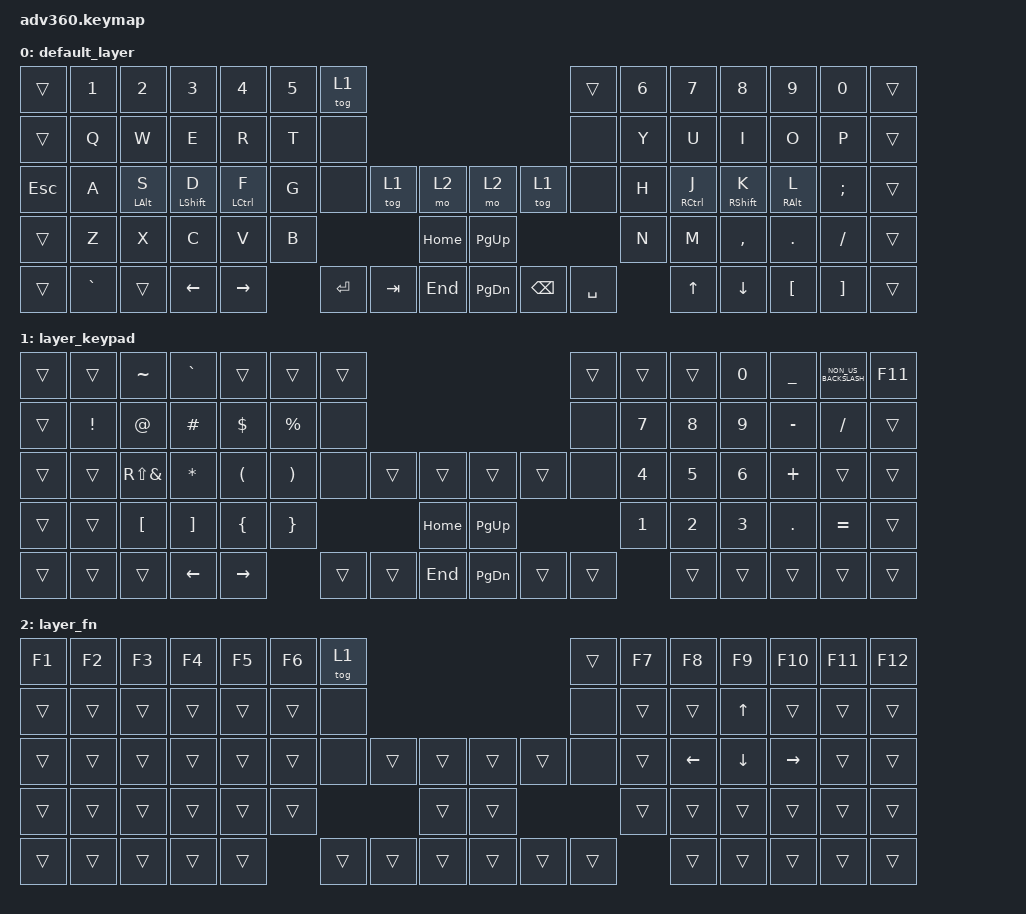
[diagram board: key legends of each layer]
/*
 * Copyright (c) 2020 The ZMK Contributors
 *
 * SPDX-License-Identifier: MIT
 */
/* THIS FILE WAS GENERATED!
 *
 * This file was generated automatically. You may or may not want to
 * edit it directly.
 */

#include <behaviors.dtsi>
#include <dt-bindings/zmk/keys.h>

/ {
    behaviors {
        #include "macros.dtsi"
    #include "version.dtsi"

        hm: homerow_mods {
            compatible = "zmk,behavior-hold-tap";
            label = "HOMEROW_MODS";
            #binding-cells = <2>;
            tapping-term-ms = <200>;
            quick_tap_ms = <175>;
            flavor = "tap-preferred";
            bindings = <&kp>, <&kp>;
        };
    };

    keymap {
        compatible = "zmk,keymap";

        default_layer {
            bindings = <
&trans   &kp N1     &kp N2          &kp N3        &kp N4       &kp N5  &tog 1                                                      &trans     &kp N6  &kp N7       &kp N8             &kp N9           &kp N0    &trans
&trans   &kp Q      &kp W           &kp E         &kp R        &kp T   &none                                                       &none      &kp Y   &kp U        &kp I              &kp O            &kp P     &trans
&kp ESC  &kp A      &mt LEFT_ALT S  &mt LSHIFT D  &mt LCTRL F  &kp G   &none      &tog 1   &mo 2         &mo 2      &tog 1         &none      &kp H   &mt RCTRL J  &mt RIGHT_SHIFT K  &mt RIGHT_ALT L  &kp SEMI  &trans
&trans   &kp Z      &kp X           &kp C         &kp V        &kp B                       &kp HOME      &kp PG_UP                            &kp N   &kp M        &kp COMMA          &kp DOT          &kp FSLH  &trans
&trans   &kp GRAVE  &trans          &kp LEFT      &kp RIGHT            &kp ENTER  &kp TAB  &kp END       &kp PG_DN  &kp BACKSPACE  &kp SPACE          &kp UP       &kp DOWN           &kp LBKT         &kp RBKT  &trans
            >;
        };

        layer_keypad {
            bindings = <
&trans  &trans           &kp TILDE          &kp GRAVE          &trans                &trans                 &trans                                           &trans  &trans        &trans        &kp N0        &kp UNDERSCORE  &kp NON_US_BACKSLASH  &kp F11
&trans  &kp EXCLAMATION  &kp AT_SIGN        &kp HASH           &kp DOLLAR            &kp PERCENT            &none                                            &none   &kp N7        &kp N8        &kp N9        &kp MINUS       &kp SLASH             &trans
&trans  &trans           &kp RS(AMPERSAND)  &kp ASTERISK       &kp LEFT_PARENTHESIS  &kp RIGHT_PARENTHESIS  &none   &trans  &trans        &trans     &trans  &none   &kp NUMBER_4  &kp N5        &kp NUMBER_6  &kp PLUS        &trans                &trans
&trans  &trans           &kp LEFT_BRACKET   &kp RIGHT_BRACKET  &kp LEFT_BRACE        &kp RIGHT_BRACE                        &kp HOME      &kp PG_UP                  &kp NUMBER_1  &kp NUMBER_2  &kp NUMBER_3  &kp PERIOD      &kp EQUAL             &trans
&trans  &trans           &trans             &kp LEFT           &kp RIGHT                                    &trans  &trans  &kp END       &kp PG_DN  &trans  &trans                &trans        &trans        &trans          &trans                &trans
            >;
        };

        layer_fn {
            bindings = <
&kp F1  &kp F2  &kp F3  &kp F4  &kp F5  &kp F6  &tog 1                                      &trans  &kp F7  &kp F8          &kp F9        &kp F10    &kp F11  &kp F12
&trans  &trans  &trans  &trans  &trans  &trans  &none                                       &none   &trans  &trans          &kp UP_ARROW  &trans     &trans   &trans
&trans  &trans  &trans  &trans  &trans  &trans  &none   &trans  &trans      &trans  &trans  &none   &trans  &kp LEFT_ARROW  &kp DOWN      &kp RIGHT  &trans   &trans
&trans  &trans  &trans  &trans  &trans  &trans                  &trans      &trans                  &trans  &trans          &trans        &trans     &trans   &trans
&trans  &trans  &trans  &trans  &trans          &trans  &trans  &trans      &trans  &trans  &trans          &trans          &trans        &trans     &trans   &trans
            >;
        };
    };
};
